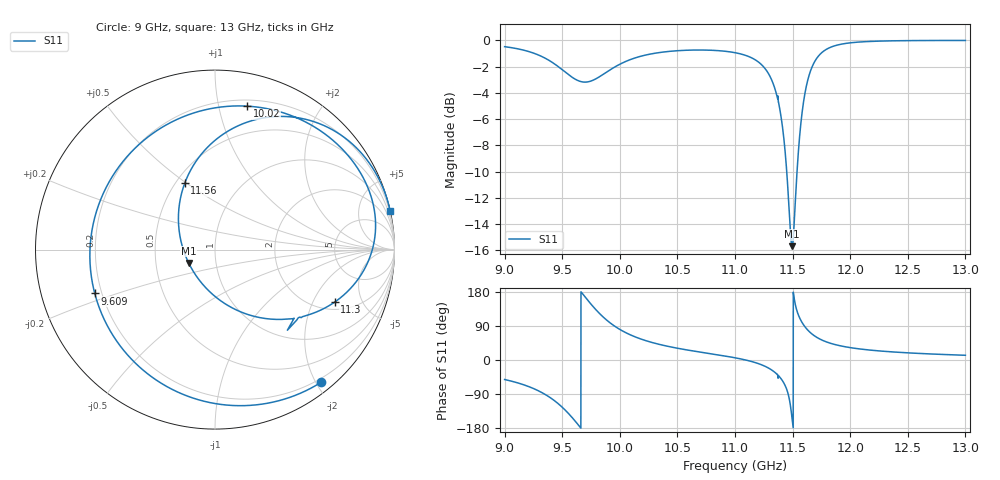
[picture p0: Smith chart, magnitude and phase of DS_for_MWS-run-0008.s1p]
! TOUCHSTONE file generated by CST DESIGN STUDIO
! Date and time: Tue Feb  4 17:41:44 2025
! Project name: C:\Work\MatlabApps\UnitCellOptimizationMatlab\CST\unitcell.cst
! Tree item: Tasks\Sweep1\SPara1\S-Parameters
! Header version: 2024
! Port assignment regex: !\s*Touchstone port\s*([0-9]+)\s*=\s*(CST MWS port|CST DES external port|CST DES block port)\s*(.+)\s* \(\"(.*)\"\)(\s*mode\s*([0-9]+))?.*
! Touchstone port assignment:
! Touchstone port 1 = CST DES external port 1 ("")
# GHz S MA R 50
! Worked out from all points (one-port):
!   4001 points, 9 GHz to 13 GHz, reference 50 ohm
!   lowest |S11| = -15.7 dB at 11.49 GHz (marker M1), VSWR 1.39, Z = 36.8 - j5.59 ohm
!   |S11| at or under -10 dB: 11.45 GHz to 11.54 GHz (89.34 MHz wide, 0.777 % of centre)
!   S11 on the Smith chart (normalised r, x): 9 GHz: 0.15, -2.07; 9.609 GHz: 0.17, -0.17; 10.02 GHz: 0.25, +1.22; 11.3 GHz: 2.38, -2.97; 11.56 GHz: 0.56, +0.49; 13 GHz: 0.03, +9.15
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9  0.9464 -51.5
9.168  0.9172 -65.6
9.32  0.8693 -85.4
9.416  0.8232 -103.6
9.5  0.7735 -124.6
9.609  0.7131 -159.9
9.704  0.6936 164.4
9.814  0.7228 125.8
9.9  0.7645 101.8
10  0.8111 80.7
10.02  0.8193 77.2
10.23  0.8804 50.7
10.5  0.9133 31.1
11  0.8977 5.9
11.185  0.8383 -7.7
11.305  0.7275 -23.8
11.352  0.6424 -34.1
11.418  0.4464 -57.6
11.457  0.2812 -85.0
11.495  0.1645 -153.3
11.5  0.1671 -166.3
11.556  0.4062 114.5
11.612  0.6454 85.9
11.676  0.8051 66.8
11.807  0.9316 46.3
12  0.9787 32.7
12.5  0.9979 18.9
13  0.9992 12.5
